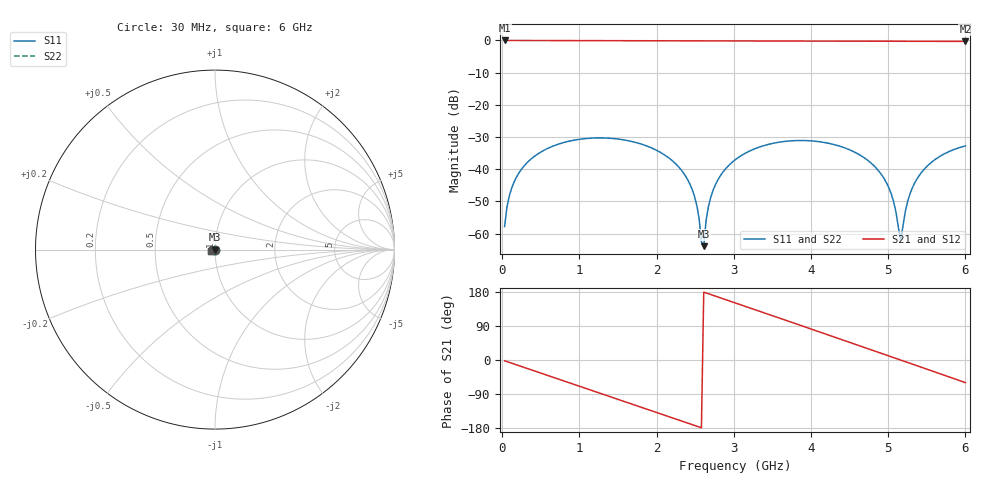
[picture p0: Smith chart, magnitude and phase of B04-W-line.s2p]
! yapnr Order 0 O0-W: O0-W B04 W dL34 (line, family W)
! stackup OSHPARK-4L-FR408HR, nominal parameters; geometry of the OSHPARK-4L-FR408HR design
! model: 2D quasi-static RLGC (Djordjevic-Sarkar, Huray roughness, Wheeler loss); generated by python -m yapnr.rf.coupons expected --stackup OSHPARK-4L-FR408HR --upload W
! reference planes 10 mm from each end; 50 ohm (from the W line's Zc)
# GHz S DB R 50
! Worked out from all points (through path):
!   200 points, 30 MHz to 6 GHz, reference 50 ohm
!   highest |S21| = 0.00 dB at 30 MHz (marker M1); lowest = -0.3 dB at 6 GHz (marker M2)
!   group delay of S21, straight-line fit = 194 ps
!   lowest |S11| = -63.9 dB at 2.61 GHz (marker M3), VSWR 1.00, Z = 50 - j0.0398 ohm
!   |S11| at or under -10 dB: start of sweep to end of sweep
!   |S22| runs from -63.9 to -30.3 dB; largest |S21 - S12| = 0
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0.03  -57.87 -88.3  -0.00 -2.1  -0.00 -2.1  -57.87 -88.3
0.12  -46.01 -99.7  -0.01 -8.4  -0.01 -8.4  -46.01 -99.7
0.3  -38.53 -114.2  -0.02 -20.8  -0.02 -20.8  -38.53 -114.2
1.05  -30.57 -167.7  -0.06 -72.7  -0.06 -72.7  -30.57 -167.7
1.53  -30.74 158.9  -0.08 -105.9  -0.08 -105.9  -30.74 158.9
2.04  -34.66 123.9  -0.11 -141.2  -0.11 -141.2  -34.66 123.9
2.43  -44.61 99.7  -0.12 -168.4  -0.12 -168.4  -44.61 99.7
2.52  -51.22 98.4  -0.13 -174.6  -0.13 -174.6  -51.22 98.4
2.58  -62.57 121.4  -0.13 -178.8  -0.13 -178.8  -62.57 121.4
2.61  -63.94 -141.1  -0.13 179.1  -0.13 179.1  -63.94 -141.1
2.67  -51.71 -111.1  -0.14 174.9  -0.14 174.9  -51.71 -111.1
2.73  -46.63 -110.9  -0.14 170.7  -0.14 170.7  -46.63 -110.9
3.03  -36.86 -128.1  -0.15 149.8  -0.15 149.8  -36.86 -128.1
3.54  -31.81 -162.7  -0.18 114.1  -0.18 114.1  -31.81 -162.7
4.02  -31.25 164.2  -0.20 80.5  -0.20 80.5  -31.25 164.2
4.65  -35.85 121.6  -0.23 36.1  -0.23 36.1  -35.85 121.6
5.01  -45.89 102.6  -0.25 10.7  -0.25 10.7  -45.89 102.6
5.1  -53.28 108.8  -0.25 4.3  -0.25 4.3  -53.28 108.8
5.16  -61.99 172.3  -0.26 0.0  -0.26 0.0  -61.99 172.3
5.25  -50.19 -118.1  -0.26 -6.3  -0.26 -6.3  -50.19 -118.1
5.4  -42.04 -119.5  -0.27 -17.0  -0.27 -17.0  -42.04 -119.5
6  -32.78 -157.7  -0.30 -59.7  -0.30 -59.7  -32.78 -157.7
